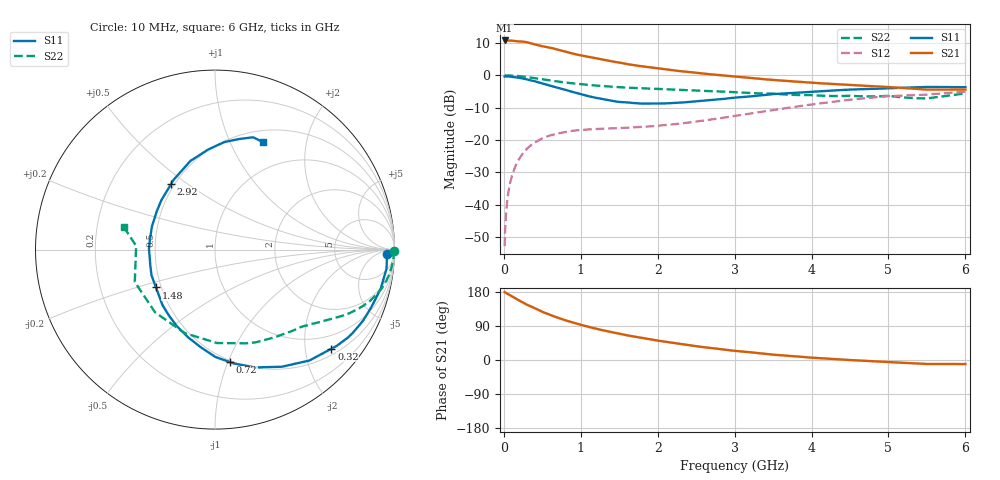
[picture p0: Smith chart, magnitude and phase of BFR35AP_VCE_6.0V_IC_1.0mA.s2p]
! Infineon Technologies  Discrete & RF Semiconductors
! BFR35AP
! VCE =  6.0 V,  IC =  1.0 mA
! Common Emitter S-Parameters:  Nov 2015
# GHz  S  MA  R  50
!  f  S11  S21  S12  S22
! GHz  MAG  ANG  MAG  ANG  MAG  ANG  MAG  ANG
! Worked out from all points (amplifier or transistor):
!   210 points, 10 MHz to 6 GHz, reference 50 ohm
!   highest |S21| = 10.8 dB at 10 MHz (marker M1)
!   |S21| within 3 dB of that: start of sweep to 731 MHz
!   unconditionally stable (mu >= 1): 1.455 GHz to 3.809 GHz; 5.215 GHz to end of sweep
!   at 185 MHz: K = 0.15, MSG = 18.4 dB, |S12| = -26.4 dB
!   at 1.52 GHz: K = 1.03, MAG = 9.0 dB, |S12| = -16.3 dB
!   at 6 GHz: K = 1.00, MAG = 0.0 dB, |S12| = -5.1 dB
!   S11 on the Smith chart (normalised r, x): 10 MHz: 36, -22; 320 MHz: 0.64, -2.58; 720 MHz: 0.49, -1.02; 1.48 GHz: 0.47, -0.23; 2.92 GHz: 0.48, +0.44; 6 GHz: 0.64, +1.34
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0.01  0.9609 -1.4  3.45 179.2  0.0023 88.1  0.9999 -0.4
0.02  0.9586 -2.7  3.448 177.6  0.0049 88.2  0.9923 -1.0
0.035  0.9597 -4.5  3.435 176.0  0.009 86.4  0.9941 -1.8
0.06  0.958 -7.6  3.425 173.3  0.0159 84.4  0.9946 -3.1
0.085  0.9513 -11.0  3.432 170.5  0.0226 82.4  0.9912 -4.5
0.15  0.9301 -19.6  3.379 162.4  0.0394 77.4  0.9809 -8.1
0.24  0.8973 -31.1  3.318 152.5  0.0605 70.7  0.9588 -12.2
0.32  0.8517 -40.4  3.187 144.2  0.0772 65.5  0.9319 -15.8
0.5  0.7513 -60.3  2.812 127.1  0.1063 55.3  0.8681 -22.1
0.6  0.6935 -71.2  2.673 118.9  0.118 50.4  0.8325 -25.0
0.72  0.6324 -82.4  2.464 110.3  0.1276 46.0  0.7949 -27.8
0.9  0.5512 -98.0  2.149 98.5  0.1397 41.1  0.75 -31.2
1.02  0.5036 -108.7  2.01 91.9  0.1436 38.8  0.7256 -33.2
1.2  0.4485 -124.8  1.826 82.4  0.1482 36.5  0.6944 -36.1
1.48  0.3905 -147.3  1.587 70.3  0.1525 36.0  0.6574 -40.2
2.02  0.3667 171.2  1.27 50.6  0.1671 39.7  0.6142 -48.9
2.92  0.4403 123.7  0.98 26.2  0.2277 46.7  0.5547 -69.6
3.1  0.4609 117.5  0.935 22.4  0.2461 46.7  0.54 -75.1
4.1  0.5664 92.0  0.755 5.0  0.3668 40.1  0.4859 -114.5
5.1  0.6353 76.5  0.648 -6.5  0.4812 24.7  0.4669 -162.5
5.5  0.6611 71.2  0.601 -10.5  0.5035 17.1  0.4399 177.3
6  0.6553 65.7  0.602 -10.7  0.5581 12.2  0.5245 166.0
